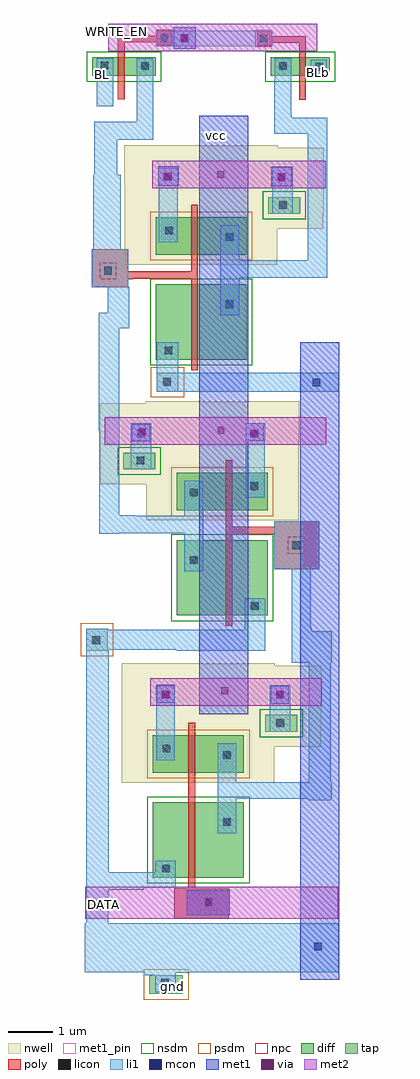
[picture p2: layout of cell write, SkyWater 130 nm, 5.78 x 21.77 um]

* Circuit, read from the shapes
.subckt write BL BLb DATA WRITE_EN gnd vcc
XM1 n1 WRITE_EN BL gnd sky130_fd_pr__nfet_01v8 w=0.42 l=0.15
XM2 n2 DATA gnd gnd sky130_fd_pr__nfet_01v8 w=1.68 l=0.15
XM3 n3 n1 gnd gnd sky130_fd_pr__nfet_01v8 w=1.68 l=0.15
XM4 gnd n2 n1 gnd sky130_fd_pr__nfet_01v8 w=1.68 l=0.15
XM5 BLb WRITE_EN n3 gnd sky130_fd_pr__nfet_01v8 w=0.42 l=0.15
XM6 n2 DATA vcc vcc sky130_fd_pr__pfet_01v8 w=0.84 l=0.15
XM7 n3 n1 vcc vcc sky130_fd_pr__pfet_01v8 w=0.84 l=0.15
XM8 vcc n2 n1 vcc sky130_fd_pr__pfet_01v8 w=0.84 l=0.15
.ends

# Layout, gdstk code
import gdstk
lib = gdstk.Library(unit=1e-6, precision=1e-09)
def R(c, l, rs):  # rectangles x0, y0, x1, y1
    for r in rs: c.add(gdstk.rectangle(r[:2], r[2:], *l))
nwell = (64, 20)
diff = (65, 20)
tap = (65, 44)
poly = (66, 20)
licon = (66, 44)
li1 = (67, 20)
mcon = (67, 44)
met1_pin = (68, 16)
met1 = (68, 20)
via = (68, 44)
met2 = (69, 20)
nsdm = (93, 44)
psdm = (94, 20)
npc = (95, 20)

write = lib.new_cell('write')
R(write, nwell, [(0.29,-17.04,3.69,-16.24), (0.29,-16.24,4.72,-15.9), (0.29,-15.9,4.73,-15.26), (0.28,-15.26,4.73,-14.43), (0.28,-14.43,3.7,-14.38), (0.83,-11.19,4.23,-10.39), (-0.2,-10.39,4.23,-10.05), (-0.21,-10.05,4.23,-9.41), (-0.21,-9.41,4.24,-8.58), (0.82,-8.58,4.24,-8.53), (0.35,-5.49,3.75,-4.69), (0.35,-4.69,4.78,-4.35), (0.35,-4.35,4.79,-3.71), (0.34,-3.71,4.79,-2.88), (0.34,-2.88,3.76,-2.83)])
R(write, diff, [(0.98,-19.16,3.01,-17.48), (0.98,-16.82,3.01,-15.98), (1.51,-13.31,3.54,-11.63), (1.51,-10.97,3.54,-10.13), (1.04,-7.61,3.07,-5.93), (1.04,-5.27,3.07,-4.43), (-0.37,-1.28,1.04,-0.86), (3.61,-1.28,4.92,-0.86)])
R(write, tap, [(0.9,-21.75,1.65,-21.34), (0.95,-21.34,1.64,-21.33), (3.49,-15.9,4.2,-15.53), (-0.51,-14.1,-0.03,-13.61), (0.32,-10.05,1.03,-9.68), (1.06,-8.32,1.55,-7.9), (3.55,-4.35,4.26,-3.98)])
R(write, poly, [(1.45,-20.06,2.67,-19.39), (1.77,-19.39,1.92,-15.7), (2.6,-13.54,2.75,-11.5), (3.69,-12.28,4.69,-11.5), (2.6,-11.5,4.69,-11.33), (2.6,-11.33,2.75,-9.85), (3.69,-11.33,4.69,-11.21), (1.83,-7.84,1.98,-5.8), (-0.38,-5.99,0.43,-5.81), (-0.38,-5.81,0.52,-5.8), (-0.38,-5.8,1.98,-5.63), (-0.38,-5.63,0.43,-5.14), (1.83,-5.63,1.98,-4.15), (4.24,-1.81,4.39,-0.54), (0.2,-1.8,0.35,-0.53), (1.07,-0.61,1.4,-0.53), (3.31,-0.61,3.64,-0.54), (3.31,-0.54,4.39,-0.39), (0.2,-0.53,1.4,-0.38), (3.31,-0.39,3.64,-0.27), (1.07,-0.38,1.4,-0.27)])
R(write, licon, [(1.165,-21.585,1.335,-21.415), (2.13,-19.79,2.3,-19.62), (1.185,-19.035,1.355,-18.865), (2.545,-18.005,2.715,-17.835), (2.545,-16.505,2.715,-16.335), (1.195,-16.365,1.365,-16.195), (3.735,-15.79,3.905,-15.62), (-0.37,-13.95,-0.2,-13.78), (3.165,-13.185,3.335,-13.015), (1.805,-12.155,1.975,-11.985), (4.09,-11.83,4.26,-11.66), (1.805,-10.655,1.975,-10.485), (3.155,-10.515,3.325,-10.345), (0.615,-9.94,0.785,-9.77), (1.21,-8.185,1.38,-8.015), (1.245,-7.485,1.415,-7.315), (2.605,-6.455,2.775,-6.285), (-0.105,-5.71,0.065,-5.54), (2.605,-4.955,2.775,-4.785), (1.255,-4.815,1.425,-4.645), (3.795,-4.24,3.965,-4.07), (4.605,-1.16,4.775,-0.99), (0.715,-1.14,0.885,-0.97), (3.795,-1.14,3.965,-0.97), (-0.185,-1.135,-0.015,-0.965), (3.36,-0.53,3.53,-0.36), (1.15,-0.52,1.32,-0.35)])
R(write, li1, [(1.03,-21.71,1.49,-21.33), (0.78,-21.33,1.49,-21.28), (0.77,-21.28,1.8,-21.27), (-0.54,-21.27,5.12,-20.17), (-0.51,-20.17,-0.02,-19.47), (1.73,-20,2.69,-19.43), (-0.51,-19.47,-0.01,-19.43), (-0.51,-19.43,0.78,-19.38), (-0.51,-19.38,1.49,-19.04), (-0.51,-19.04,-0.01,-14.08), (1.03,-19.04,1.49,-18.8), (1.05,-18.8,1.49,-18.78), (2.42,-18.17,2.84,-17.4), (4.45,-17.43,4.95,-17.4), (2.42,-17.4,4.97,-17.03), (2.42,-17.03,2.84,-16.16), (4.45,-17.03,4.95,-14.36), (1.05,-16.54,1.47,-15.16), (3.58,-15.9,4.04,-14.87), (1.04,-15.16,1.47,-14.88), (4.08,-14.36,4.97,-13.66), (1.51,-14.1,3.48,-14.08), (-0.51,-14.08,3.48,-13.63), (4.08,-13.66,4.51,-13.57), (-0.51,-13.63,-0.02,-13.61), (3.03,-13.63,3.48,-13.59), (3.03,-13.59,3.49,-12.95), (4.08,-13.57,4.5,-12.28), (3.03,-12.95,3.47,-12.93), (1.68,-12.32,2.1,-11.48), (3.69,-12.28,4.69,-11.21), (-0.22,-11.49,0.23,-11.48), (-0.22,-11.48,2.1,-11.09), (-0.22,-11.09,0.58,-11.08), (1.68,-11.09,2.1,-10.31), (-0.22,-11.08,0.23,-9.19), (3.05,-10.69,3.47,-9.31), (0.48,-10.05,0.94,-9.02), (3.05,-9.31,3.48,-9.03), (-0.23,-9.19,0.23,-6.91), (1.06,-8.32,5.12,-7.9), (1.06,-7.9,1.55,-7.22), (-0.23,-6.91,0.45,-6.56), (2.48,-6.62,2.9,-5.78), (-0.03,-6.56,0.45,-5.99), (-0.38,-5.99,0.45,-5.98), (-0.38,-5.98,0.43,-5.14), (2.48,-5.78,4.87,-5.39), (2.48,-5.39,2.9,-4.61), (4.43,-5.39,4.87,-2.57), (-0.35,-5.14,0.26,-3.48), (1.11,-4.99,1.53,-3.61), (3.64,-4.35,4.1,-3.32), (1.1,-3.61,1.53,-3.33), (-0.33,-3.48,0.18,-2.7), (-0.33,-2.7,0.99,-2.3), (3.69,-2.57,4.87,-2.21), (0.62,-2.3,0.99,-0.93), (3.69,-2.21,4.07,-2.15), (3.69,-2.15,4.06,-1.37), (-0.27,-1.95,0.09,-0.89), (3.7,-1.37,4.06,-0.88), (4.5,-1.24,4.86,-0.92), (0.62,-0.93,0.98,-0.88), (1.4,-0.62,3.32,-0.61), (1.07,-0.61,3.64,-0.27)])
R(write, mcon, [(4.58,-20.78,4.75,-20.61), (2.13,-19.79,2.3,-19.62), (1.18,-15.155,1.35,-14.985), (3.73,-15.155,3.9,-14.985), (0.625,-9.335,0.795,-9.165), (3.155,-9.335,3.325,-9.165), (4.54,-8.2,4.71,-8.03), (3.765,-3.625,3.935,-3.455), (1.225,-3.605,1.395,-3.435), (1.595,-0.525,1.765,-0.355)])
R(write, met1_pin, [(2.39,-2.61,2.4,-2.6)])
R(write, met1, [(4.26,-21.44,5.14,-7.22), (1.73,-20,2.69,-19.44), (2.26,-19.44,2.69,-19.43), (2.01,-15.51,3.11,-9.41), (3.61,-15.28,4.01,-14.88), (1.07,-15.26,1.47,-14.86), (0.51,-9.43,0.92,-9.05), (2.01,-9.41,3.45,-9.03), (2.01,-9.03,3.11,-2.17), (3.62,-3.74,4.08,-3.3), (1.1,-3.73,1.56,-3.29), (1.44,-0.67,1.94,-0.19)])
R(write, via, [(2.14,-19.78,2.29,-19.63), (3.745,-15.145,3.895,-14.995), (1.2,-15.135,1.35,-14.985), (2.505,-15.065,2.655,-14.915), (3.165,-9.325,3.315,-9.175), (0.665,-9.29,0.815,-9.14), (2.425,-9.255,2.575,-9.105), (3.78,-3.615,3.93,-3.465), (1.245,-3.585,1.395,-3.435), (2.415,-3.555,2.565,-3.405), (1.605,-0.515,1.755,-0.365)])
R(write, met2, [(-0.53,-20.07,5.11,-19.36), (0.92,-15.32,4.74,-14.71), (-0.09,-9.5,4.84,-8.89), (0.96,-3.78,4.83,-3.17), (-0.02,-0.73,4.64,-0.11)])
R(write, nsdm, [(0.855,-19.285,3.135,-17.355), (3.365,-16.025,4.325,-15.405), (1.385,-13.435,3.665,-11.505), (0.195,-10.175,1.155,-9.555), (0.915,-7.735,3.195,-5.805), (3.425,-4.475,4.385,-3.855), (-0.495,-1.405,1.165,-0.735), (3.485,-1.405,5.045,-0.735)])
R(write, psdm, [(0.775,-21.875,1.775,-21.215), (0.825,-21.215,1.765,-21.205), (0.855,-16.945,3.135,-15.855), (-0.635,-14.225,0.095,-13.485), (1.385,-11.095,3.665,-10.005), (0.935,-8.445,1.675,-7.775), (0.915,-5.395,3.195,-4.305)])
R(write, npc, [(2.03,-19.89,2.4,-19.52), (3.99,-11.93,4.36,-11.56), (-0.205,-5.81,0.165,-5.44), (3.26,-0.63,3.63,-0.26), (1.05,-0.62,1.42,-0.25)])
write.add(gdstk.Label('gnd', (1.42,-21.59), layer=67, texttype=5))
write.add(gdstk.Label('vcc', (2.395,-2.605), layer=68, texttype=5))
write.add(gdstk.Label('DATA', (-0.13,-19.76), layer=69, texttype=5))
write.add(gdstk.Label('WRITE_EN', (0.16,-0.28), layer=69, texttype=5))
write.add(gdstk.Label('BL', (-0.15,-1.25), layer=67, texttype=5))
write.add(gdstk.Label('BLb', (4.68,-1.21), layer=67, texttype=5))

lib.write_gds('write.gds')
